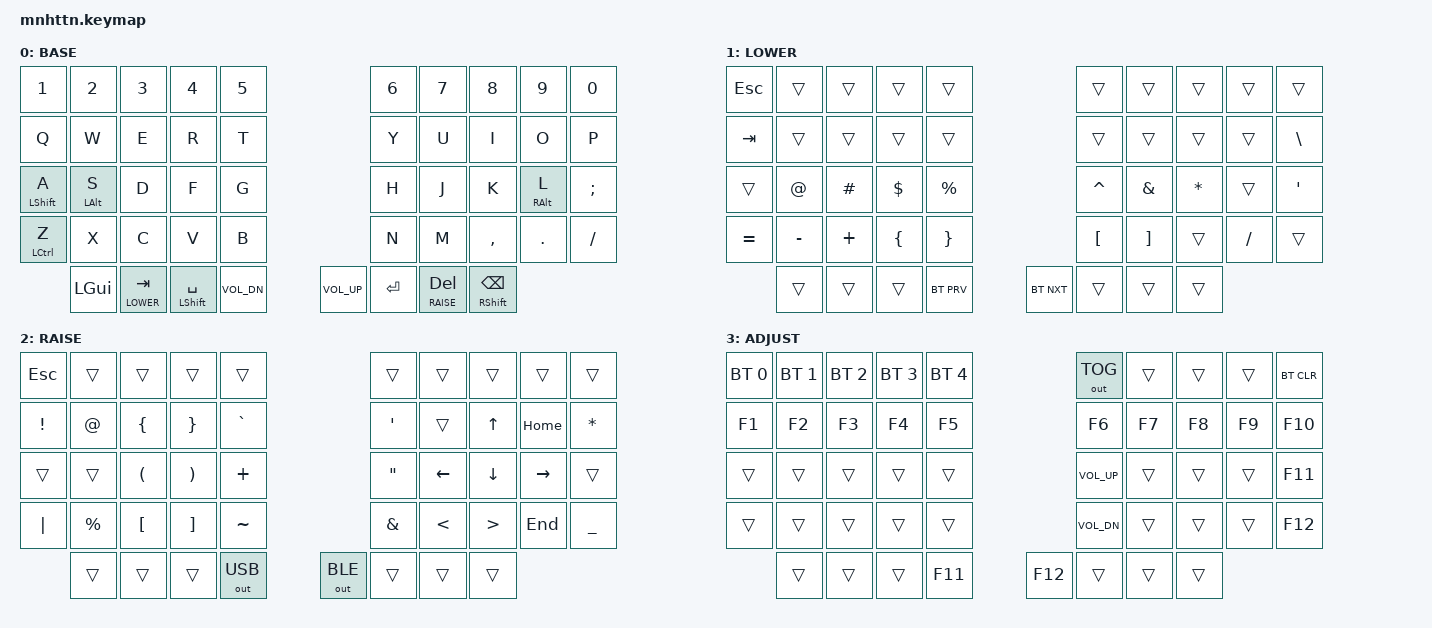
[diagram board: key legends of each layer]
#include <behaviors.dtsi>
#include <dt-bindings/zmk/keys.h>
#include <dt-bindings/zmk/bt.h>
#include <dt-bindings/zmk/backlight.h>
#include <dt-bindings/zmk/outputs.h>

// #include "keys_de.h"

#define BASE 0
#define LOWER 1
#define RAISE 2
#define ADJUST  3

&lt {
    flavor = "tap-preferred";
    quick-tap-ms = <200>;
};

/ {
    chosen {
      zmk,battery = &vbatt;
    };

    vbatt: vbatt {
        compatible = "zmk,battery-nrf-vddh";
    };

    conditional_layers {
        compatible = "zmk,conditional-layers";
        tri_layer {
            if-layers = <1 2>;
            then-layer = <3>;
        };
    };

    behaviors {
        hm: homerow_mods {
            compatible = "zmk,behavior-hold-tap";
            label = "HOMEROW_MODS";
            #binding-cells = <2>;
            flavor = "balanced";
            tapping-term-ms = <200>;
            quick-tap-ms = <200>;
            require-prior-idle-ms = <125>;
            bindings = <&kp>, <&kp>;
        };
        // mt: mod_tap {
        //     compatible = "zmk,behavior-hold-tap";
        //     #binding-cells = <2>;
        //     quick-tap-ms = <100>;
        //     flavor = "balanced";
        //     tapping-term-ms = <170>;
        // };
        // lt: layer_tap {
        //     // compatible = "zmk,behavior-hold-tap";
        //     #binding-cells = <2>;
        //     quick-tap-ms = <100>;
        //     // flavor = "balanced";
        //     flavor = "tap-preferred";
        //     tapping-term-ms = <170>;
        // };
    };

    keymap {
        compatible = "zmk,keymap";
        base_layer {
            label= "BASE";
            bindings = <
                &kp N1       &kp N2       &kp N3       &kp N4       &kp N5                             &kp N6       &kp N7       &kp N8       &kp N9       &kp N0
                &kp Q        &kp W        &kp E        &kp R        &kp T                              &kp Y        &kp U        &kp I        &kp O        &kp P
                &hm LSHFT A  &hm LALT S   &kp D        &kp F        &kp G                              &kp H        &kp J        &kp K        &hm RALT L   &kp SEMI
                &hm LCTRL Z  &kp X        &kp C        &kp V        &kp B                              &kp N        &kp M        &kp COMMA    &kp DOT      &kp SLASH
                                  &kp LGUI     &lt LOWER TAB &hm LSHFT SPACE &kp K_VOL_DN &kp K_VOL_UP &kp RET      &lt RAISE DEL &hm RSHFT BSPC
            >;
        };

        lower_layer {
            label= "LOWER";
            bindings = <
                &kp ESC      &trans       &trans       &trans       &trans                             &trans       &trans       &trans       &trans       &trans
                &kp TAB      &trans       &trans       &trans       &trans                             &trans       &trans       &trans       &trans       &kp BSLH
                &trans       &kp AT       &kp HASH     &kp DLLR     &kp PRCNT                          &kp CARET    &kp AMPS     &kp STAR     &trans       &kp SQT
                &kp EQUAL    &kp MINUS    &kp PLUS     &kp LBRC     &kp RBRC                           &kp LBKT     &kp RBKT     &trans       &kp SLASH    &trans
                                          &trans       &trans       &trans  &bt BT_PRV     &bt BT_NXT  &trans       &trans       &trans
            >;
        };

        raise_layer {
            label= "RAISE";
            bindings = <
                &kp ESC      &trans       &trans       &trans       &trans                             &trans       &trans       &trans       &trans       &trans
                &kp EXCL     &kp AT       &kp LBRC     &kp RBRC     &kp GRAVE                          &kp SQT      &trans       &kp UP       &kp HOME     &kp STAR
                &trans       &trans       &kp LPAR     &kp RPAR     &kp PLUS                           &kp DQT      &kp LEFT     &kp DOWN     &kp RIGHT    &trans
                &kp PIPE     &kp PRCNT    &kp LBKT     &kp RBKT     &kp TILDE                          &kp AMPS     &kp LT       &kp GT       &kp END      &kp UNDER
                                          &trans       &trans       &trans  &out OUT_USB &out OUT_BLE  &trans       &trans       &trans
            >;
        };

        adjust_layer {
            label= "ADJUST";
	    bindings = <
                &bt BT_SEL 0  &bt BT_SEL 1  &bt BT_SEL 2  &bt BT_SEL 3  &bt BT_SEL 4                     &out OUT_TOG  &trans     &trans     &trans     &bt BT_CLR
                &kp F1        &kp F2        &kp F3        &kp F4        &kp F5                           &kp F6        &kp F7     &kp F8     &kp F9     &kp F10
                &trans        &trans        &trans        &trans        &trans                           &kp K_VOL_UP  &trans     &trans     &trans     &kp F11
                &trans        &trans        &trans        &trans        &trans                           &kp K_VOL_DN  &trans     &trans     &trans     &kp F12
                                            &trans        &trans        &trans  &kp F11         &kp F12  &trans        &trans     &trans
            >;
        };
    };
};
